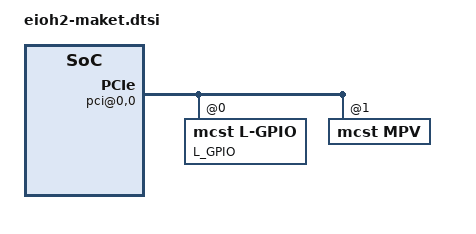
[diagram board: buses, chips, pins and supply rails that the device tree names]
/*
 * SPDX-License-Identifier: GPL-2.0
 * Copyright (c) 2023 MCST
 */

#include <dt-bindings/interrupt-controller/irq.h>
#include "epic-vectors.h"

#ifndef NODE
# error NODE undefined
#endif
#ifndef CELLS
# error CELLS undefined
#endif

#if CELLS == 1
# define REG reg32
#else
# define REG reg
#endif

#ifndef  DMN_1_STS
# define DMN_1_STS "disabled"
#endif
#ifndef  DMN_2_STS
# define DMN_2_STS "disabled"
#endif
#ifndef  DMN_3_STS
# define DMN_3_STS "disabled"
#endif
#ifndef  DMN_4_STS
# define DMN_4_STS "disabled"
#endif

#define __MSI(_n) msi ## _n
#define _MSI(_n) __MSI(_n)
#define MSI _MSI(NODE)

#if NODE == 0
# define PCICFG_ADDRL(_a) 0x2 ## _a
# define PCICFG_ADDR(_a) 0x2 _a

# define DMN_0 0
# define DMN_1 1
# define DMN_2 2
# define DMN_3 3
# define DMN_4 4
# define IOMMU_0 iommu0
# define IOMMU_1 iommu1
# define IOMMU_2 iommu2
# define IOMMU_3 iommu3
# define IOMMU_4 iommu4

# define PIC_0 pic0
# define PIC_1 pic1
# define PIC_2 pic2
# define PIC_3 pic3
# define PIC_4 pic4

# define L_GPIO l_gpio0
# define L_SPI l_spi0

# define L_I2C0 l_i2c0
# define L_I2C1 l_i2c1
# define L_I2C2 l_i2c2
# define L_I2C3 l_i2c3
# define L_I2C4 l_i2c4
# define L_I2C5 l_i2c5

# define SERIAL_0 serial0
# define SERIAL_1 serial1

# define PCI7_I3C_0 pci7_i3c0
# define PCI7_I3C_1 pci7_i3c1

#elif NODE == 1
# define PCICFG_ADDRL(_a) 0x3 ## _a
# define PCICFG_ADDR(_a) 0x3 _a

# define DMN_0 5
# define DMN_1 6
# define DMN_2 7
# define DMN_3 8
# define DMN_4 9
# define IOMMU_0 iommu5
# define IOMMU_1 iommu6
# define IOMMU_2 iommu7
# define IOMMU_3 iommu8
# define IOMMU_4 iommu9

# define PIC_0 pic5
# define PIC_1 pic6
# define PIC_2 pic7
# define PIC_3 pic8
# define PIC_4 pic9

# define L_GPIO l_gpio1
# define L_SPI l_spi1

# define L_I2C0 l_i2c6
# define L_I2C1 l_i2c7
# define L_I2C2 l_i2c8
# define L_I2C3 l_i2c9
# define L_I2C4 l_i2c10
# define L_I2C5 l_i2c11

# define SERIAL_0 serial2
# define SERIAL_1 serial3

# define PCI7_I3C_0 pci7_i3c2
# define PCI7_I3C_1 pci7_i3c3

#elif NODE == 2
# define PCICFG_ADDRL(_a) 0x4 ## _a
# define PCICFG_ADDR(_a) 0x4 _a

# define DMN_0 10
# define DMN_1 11
# define DMN_2 12
# define DMN_3 13
# define DMN_4 14
# define IOMMU_0 iommu10
# define IOMMU_1 iommu11
# define IOMMU_2 iommu12
# define IOMMU_3 iommu13
# define IOMMU_4 iommu14

# define PIC_0 pic10
# define PIC_1 pic11
# define PIC_2 pic12
# define PIC_3 pic13
# define PIC_4 pic14

# define L_GPIO l_gpio2
# define L_SPI l_spi3

# define L_I2C0 l_i2c12
# define L_I2C1 l_i2c13
# define L_I2C2 l_i2c14
# define L_I2C3 l_i2c15
# define L_I2C4 l_i2c16
# define L_I2C5 l_i2c17

# define SERIAL_0 serial4
# define SERIAL_1 serial5

# define PCI7_I3C_0 pci7_i3c4
# define PCI7_I3C_1 pci7_i3c5

#elif NODE == 3
# define PCICFG_ADDRL(_a) 0x5 ## _a
# define PCICFG_ADDR(_a) 0x5 _a

# define DMN_0 15
# define DMN_1 16
# define DMN_2 17
# define DMN_3 18
# define DMN_4 19
# define IOMMU_0 iommu15
# define IOMMU_1 iommu16
# define IOMMU_2 iommu17
# define IOMMU_3 iommu18
# define IOMMU_4 iommu19

# define PIC_0 pic15
# define PIC_1 pic16
# define PIC_2 pic17
# define PIC_3 pic18
# define PIC_4 pic19

# define L_GPIO l_gpio0
# define L_SPI l_spi0

# define L_I2C0 l_i2c18
# define L_I2C1 l_i2c19
# define L_I2C2 l_i2c20
# define L_I2C3 l_i2c21
# define L_I2C4 l_i2c22
# define L_I2C5 l_i2c23

# define SERIAL_0 serial6
# define SERIAL_1 serial7

# define PCI7_I3C_0 pci7_i3c6
# define PCI7_I3C_1 pci7_i3c7

#else
# error NODE
#endif

	PIC_0: PIC_0 {
		compatible = "mcst,ioepic";

		bus-reg64         = /bits/ 64 <PCICFG_ADDRL(00000018) 4>;
		regbar-and-size64 = /bits/ 64 <PCICFG_ADDRL(0005801c) 0x100000>;

		interrupt-parent = <&lpic>;
		interrupt-controller;
		numa-node-id = <NODE>;

		#interrupt-cells = <2>;
	};
	MSI: MSI {
		compatible = "mcst,l-msi";
		interrupt-parent = <&lpic>;
		msi-controller;
	};
	IOMMU_0: iommu@DMN_0,380 {
		compatible = "mcst,e2k-iommu";
		REG = <NSR_ADDR(00380) 0 0x80>,
			<NSR_ADDR(05080) 0 0x380>; /* for embedded devices */
		nonposted-mmio;

		#iommu-cells = <1>;

		numa-node-id = <NODE>;
		interrupt-parent = <&LVT>;
		interrupts = <LINP1_INTERRUPT_VECTOR   1 0>
#ifdef E8V7
			    ,<LINP26_INTERRUPT_VECTOR 26 0>
			    ,<LINP27_INTERRUPT_VECTOR 27 0>
			    ,<LINP28_INTERRUPT_VECTOR 28 0>
			    ,<LINP29_INTERRUPT_VECTOR 29 0>
			    ,<LINP30_INTERRUPT_VECTOR 30 0>
			    ,<LINP31_INTERRUPT_VECTOR 31 0>
#endif
		;
	};

	pci@DMN_0 {
		compatible = "mcst,l-pci";
		REG = <PCICFG_ADDR(0x00000000) 0 0x10000000>, /*E2S_PCICFG_AREA_PHYS_BASE*/
			<NSR_ADDR(00240) 0 4>,
			<NSR_ADDR(00220) 0 4>,
			<NSR_ADDR(00260) 0 4>,
			<NSR_ADDR(00280) 0 4>;

		reg-names = "cfg", "io", "mem", "pref-bgn", "pref-end";

		linux,pci-domain = <DMN_0>;
		numa-node-id = <NODE>;
		msi-parent = <&MSI>;
		linux,pci-probe-only = <1>;

		/*rid-base,iommu,iommu-base,length*/
		iommu-map = <0x0 &IOMMU_0 0x0 0x10000>;
		/* 1:1 translation, max size (48-bit) of e2k address space */
		ranges = <  0 0 0 /* child address */
			      0 0 /* parent address */
			0x10000 0>;/* child size */
		interrupt-parent = <&PIC>;
		interrupts = <22 IRQ_TYPE_LEVEL_HIGH>, /*SERR (all devices)*/
			     <29 IRQ_TYPE_LEVEL_HIGH>; /*WLCC*/

		#address-cells = <3>;
		#size-cells = <2>;

		/*devices: eioh2_doc/pe5_cxl/pe5_cxl_x16x4.pdf*/
		/*ioepic pins: eioh2_doc/spi_ctrl/eioh2_spi.odt*/
		/* reg: 00000000 00000000 dddddfff 00000000 */
		pci@0,0 {
			reg = <0x00000000 0 0 0 0>;
			ranges;

			#address-cells = <3>;
			#size-cells = <2>;

			pci@5,0 { /*GPIO MPV*/
				reg = <0x00002800 0 0 0 0>;

				#address-cells = <2>;
				#size-cells = <1>;

				/*ranges will added in gpio-mpv driver */
				L_GPIO: gpio@0,0 {
					compatible = "mcst,l-gpio";
					reg = <0 /*bar 0*/ 0 32>;
					interrupts =    <12 IRQ_TYPE_LEVEL_HIGH>, /*GPIO0*/
							<13 IRQ_TYPE_LEVEL_HIGH>; /*GPIO1*/
					interrupt-names = "gpio0", "gpio1";
					ngpios = <16>;
					interrupt-controller;

					#interrupt-cells = <2>;

					gpio-controller;
				};
				mpv@0,1 {
					compatible = "mcst,mpv";
					reg = <1 /*bar 1*/ 0 128>;
					interrupts =    < 9 IRQ_TYPE_LEVEL_HIGH>, /*Mpv_timers0*/
							<10 IRQ_TYPE_LEVEL_HIGH>, /*Mpv_timers1*/
							<11 IRQ_TYPE_LEVEL_HIGH>; /*Mpv_timers1*/
					interrupt-names = "mpv0", "mpv1", "mpv2";
				};
			};
			PCI7_I3C_0: pci@7,0 { /* i3c controller */
				reg = <0x00003800 0 0 0 0>;

				#address-cells = <3>;
				#size-cells = <0>;
			};
			PCI7_I3C_1: pci@7,1 { /*i3c controller*/
				reg = <0x00003900 0 0 0 0>;

				#address-cells = <3>;
				#size-cells = <0>;
			};
			L_I2C0: pci@8,0 { /*i2c controller*/
				reg = <0x00004000 0 0 0 0>;

				#address-cells = <1>;
				#size-cells = <0>;
			};
			L_I2C1: pci@8,1 { /*i2c controller*/
				reg = <0x00004100 0 0 0 0>;

				#address-cells = <1>;
				#size-cells = <0>;
			};
			L_I2C2: pci@8,2 { /*i2c controller*/
				reg = <0x00004200 0 0 0 0>;

				#address-cells = <1>;
				#size-cells = <0>;
			};
			L_I2C3: pci@8,3 { /*i2c controller*/
				reg = <0x00004300 0 0 0 0>;

				#address-cells = <1>;
				#size-cells = <0>;
			};
			L_I2C4: pci@8,4 { /*i2c controller*/
				reg = <0x00004400 0 0 0 0>;

				#address-cells = <1>;
				#size-cells = <0>;
			};
			L_I2C5: pci@8,5 { /*i2c controller*/
				reg = <0x00004500 0 0 0 0>;

				#address-cells = <1>;
				#size-cells = <0>;
			};
			SERIAL_0: pci@9,0 { /*Serial ports*/
				reg = <0x00004800 0 0 0 0>;
				interrupts =	<14 IRQ_TYPE_LEVEL_HIGH>; /*Serial Port*/
			};
			pci@a,0 { /*SMPC controller*/
				reg = <0x000005000 0 0 0 0>;
				interrupts =	< 1 IRQ_TYPE_LEVEL_HIGH>; /*SCI*/
			};
			L_SPI: pci@b,0 { /*SPI controller*/
				reg = <0x000005800 0 0 0 0>;
				interrupts =	<15 IRQ_TYPE_LEVEL_HIGH>, /*SPI*/
						<20 IRQ_TYPE_LEVEL_HIGH>, /*WD Timer*/
						< 0 IRQ_TYPE_LEVEL_HIGH>; /*WD_RST_INT_SPI*/

				#address-cells = <1>;
				#size-cells = <0>;
			};
			pci@c,0 { /*PCI-to-PCI Bridge*/
				reg = <0x00006000 0 0 0 0>;
				ranges;

				#address-cells = <3>;
				#size-cells = <2>;

				pci@2,0 { /*SATA controller*/
					reg = <0x00001000 0 0 0 0>;
					interrupt-parent = <&l_gpio0>;
					interrupts = <2 IRQ_TYPE_LEVEL_HIGH>;
				};
				pci@6,0 { /*Ethernet controller*/
					reg = <0x00003000 0 0 0 0>;
					interrupt-parent = <&l_gpio0>;
					interrupts = <2 IRQ_TYPE_LEVEL_HIGH>;
				};
			};

		};
	};

#undef PCICFG_ADDR
#undef PCICFG_ADDRL

#undef DMN_0_STS
#undef DMN_1_STS
#undef DMN_2_STS
#undef DMN_3_STS
#undef DMN_4_STS

#undef DMN_0
#undef DMN_1
#undef DMN_2
#undef DMN_3
#undef DMN_4

#undef PIC_0
#undef PIC_1
#undef PIC_2
#undef PIC_3
#undef PIC_4

#undef L_GPIO
#undef L_SPI

#undef L_I2C0
#undef L_I2C1
#undef L_I2C2
#undef L_I2C3
#undef L_I2C4
#undef L_I2C5

#undef IOMMU_0
#undef IOMMU_1
#undef IOMMU_2
#undef IOMMU_3
#undef IOMMU_4

#undef SERIAL_0
#undef SERIAL_1
#undef SERIAL_2
#undef SERIAL_3
#undef SERIAL_4
#undef SERIAL_5
#undef SERIAL_6
#undef SERIAL_7

#undef PCI7_I3C_0
#undef PCI7_I3C_1
#undef PCI7_I3C_2
#undef PCI7_I3C_3
#undef PCI7_I3C_4
#undef PCI7_I3C_5
#undef PCI7_I3C_6
#undef PCI7_I3C_7
